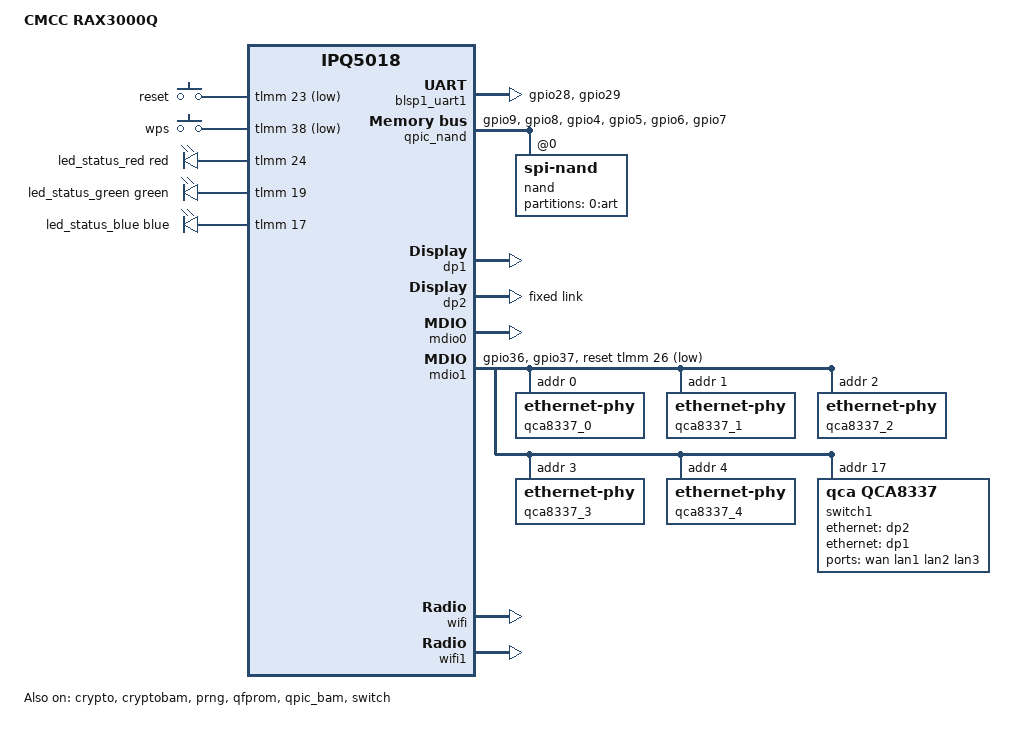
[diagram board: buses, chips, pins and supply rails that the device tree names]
// SPDX-License-Identifier: GPL-2.0-or-later OR MIT

/dts-v1/;

#include "ipq5018.dtsi"
#include "ipq5018-ess.dtsi"
#include "ipq5018-qcn6122.dtsi"

#include <dt-bindings/gpio/gpio.h>
#include <dt-bindings/input/input.h>
#include <dt-bindings/leds/common.h>

/ {
	model = "CMCC RAX3000Q";
	compatible = "cmcc,rax3000q", "qcom,ipq5018";

	aliases {
		serial0 = &blsp1_uart1;
		led-boot = &led_status_blue;
		led-failsafe = &led_status_red;
		led-running = &led_status_green;
		led-upgrade = &led_status_blue;
	};

	chosen {
		bootargs-append = " root=/dev/ubiblock0_1 coherent_pool=2M";
		stdout-path = "serial0:115200n8";
	};

	keys {
		compatible = "gpio-keys";
		pinctrl-0 = <&button_pins>;
		pinctrl-names = "default";

		reset-button {
			label = "reset";
			gpios = <&tlmm 23 GPIO_ACTIVE_LOW>;
			linux,code = <KEY_RESTART>;
		};

		wps-button {
			label = "wps";
			gpios = <&tlmm 38 GPIO_ACTIVE_LOW>;
			linux,code = <KEY_WPS_BUTTON>;
		};
	};

	leds {
		compatible = "gpio-leds";
		pinctrl-0 = <&led_pins>;
		pinctrl-names = "default";

		led_status_red: led-0 {
			gpios = <&tlmm 24 GPIO_ACTIVE_HIGH>;
			color = <LED_COLOR_ID_RED>;
			function = LED_FUNCTION_STATUS;
		};

		led_status_green: led-1 {
			gpios = <&tlmm 19 GPIO_ACTIVE_HIGH>;
			color = <LED_COLOR_ID_GREEN>;
			function = LED_FUNCTION_STATUS;
		};

		led_status_blue: led-2 {
			gpios = <&tlmm 17 GPIO_ACTIVE_HIGH>;
			color = <LED_COLOR_ID_BLUE>;
			function = LED_FUNCTION_WAN;
		};
	};
};

&sleep_clk {
	clock-frequency = <32000>;
};

&xo_board_clk {
	clock-div = <4>;
	clock-mult = <1>;
};

&blsp1_uart1 {
	status = "okay";

	pinctrl-0 = <&serial_0_pins>;
	pinctrl-names = "default";
};

&crypto {
	status = "okay";
};

&cryptobam {
	status = "okay";
};

&prng {
	status = "okay";
};

&qfprom {
	status = "okay";
};

&qpic_bam {
	status = "okay";
};

&qpic_nand {
	pinctrl-0 = <&qpic_pins>;
	pinctrl-names = "default";
	status = "okay";

	nand@0 {
		compatible = "spi-nand";
		reg = <0>;
		nand-ecc-engine = <&qpic_nand>;
		nand-bus-width = <8>;

		partitions {
			compatible = "qcom,smem-part";

			partition-art {
				label = "0:art";
				read-only;

				nvmem-layout {
					compatible = "fixed-layout";
					#address-cells = <1>;
					#size-cells = <1>;
					mac_addr_dp: macaddr@0 {
						compatible = "mac-base";
						reg = <0x0 0x6>;
						#nvmem-cell-cells = <1>;
					};
					mac_addr_wifi: macaddr@6 {
						compatible = "mac-base";
						reg = <0x6 0x6>;
						#nvmem-cell-cells = <1>;
					};
				};
			};
		};
	};
};

&switch {
	status = "okay";

	switch_mac_mode = <MAC_MODE_SGMII_CHANNEL0>;

	qcom,port_phyinfo {
		// MAC0 -> GE Phy --- MDI --- QCA8337 Phy2(Port3)
		port@0 {
			port_id = <1>;
			mdiobus = <&mdio0>;
			phy_address = <7>;
		};

		// MAC1 -> Uniphy --- SGMII --- QCA8337 SerDes(Port6)
		port@1 {
			port_id = <2>;
			mdiobus = <&mdio1>;
			forced-speed = <1000>;
			forced-duplex = <1>;
		};
	};
};

// MAC0 -> GE Phy
&dp1 {
	status = "okay";

	nvmem-cells = <&mac_addr_dp 0>;
	nvmem-cell-names = "mac-address";
};

// MAC1 -> SGMII
&dp2 {
	status = "okay";

	nvmem-cells = <&mac_addr_dp 1>;
	nvmem-cell-names = "mac-address";

	fixed-link {
		speed = <1000>;
		full-duplex;
	};
};

&mdio0 {
	status = "okay";
};

// MAC0 -> GE Phy -> QCA8337 Phy2
&ge_phy {
	qcom,dac-preset-short-cable;
};

&mdio1 {
	status = "okay";

	pinctrl-0 = <&mdio1_pins>;
	pinctrl-names = "default";
	reset-gpios = <&tlmm 26 GPIO_ACTIVE_LOW>;

	// QCA8337 Phy0 -> WAN
	qca8337_0: ethernet-phy@0 {
		reg = <0>;
	};

	// QCA8337 Phy1 -> LAN1
	qca8337_1: ethernet-phy@1 {
		reg = <1>;
	};

	// QCA8337 Phy2 -> IPQ5018 GE Phy
	qca8337_2: ethernet-phy@2 {
		reg = <2>;
	};

	// QCA8337 Phy3 -> LAN2
	qca8337_3: ethernet-phy@3 {
		reg = <3>;
	};

	// QCA8337 Phy4 -> LAN3
	qca8337_4: ethernet-phy@4 {
		reg = <4>;
	};

	// QCA8337 switch
	switch1: ethernet-switch@17 {
		compatible = "qca,qca8337";
		reg = <17>;
		#address-cells = <1>;
		#size-cells = <0>;

		ports {
			#address-cells = <1>;
			#size-cells = <0>;

			// CPU port -> MAC1 via SGMII
			port@0 {
				reg = <0>;
				phy-mode = "sgmii";
				ethernet = <&dp2>;
				qca,sgmii-enable-pll;

				fixed-link {
					speed = <1000>;
					full-duplex;
				};
			};

			// Phy0 -> WAN
			port@1 {
				reg = <1>;
				label = "wan";
				phy-handle = <&qca8337_0>;
			};

			// Phy1 -> LAN1
			port@2 {
				reg = <2>;
				label = "lan1";
				phy-handle = <&qca8337_1>;
			};

			// Phy2 -> IPQ5018 GE Phy (CPU port via internal GMII)
			port@3 {
				reg = <3>;
				phy-handle = <&qca8337_2>;
				phy-mode = "gmii";
				ethernet = <&dp1>;
			};

			// Phy3 -> LAN2
			port@4 {
				reg = <4>;
				label = "lan2";
				phy-handle = <&qca8337_3>;
			};

			// Phy4 -> LAN3
			port@5 {
				reg = <5>;
				label = "lan3";
				phy-handle = <&qca8337_4>;
			};
		};
	};
};

&tlmm {
	button_pins: button-state {
		button-pins {
			pins = "gpio23", "gpio38";
			function = "gpio";
			drive-strength = <8>;
			bias-pull-up;
		};
	};

	led_pins: led-state {
		pins = "gpio17", "gpio19", "gpio24";
		function = "gpio";
		drive-strength = <8>;
		bias-pull-down;
	};

	mdio1_pins: mdio-state {
		mdc-pins {
			pins = "gpio36";
			function = "mdc";
			drive-strength = <8>;
			bias-pull-up;
		};

		mdio-pins {
			pins = "gpio37";
			function = "mdio";
			drive-strength = <8>;
			bias-pull-up;
		};
	};

	qpic_pins: qpic-state {
		clock-pins {
			pins = "gpio9";
			function = "qspi_clk";
			drive-strength = <8>;
			bias-disable;
		};

		cs-pins {
			pins = "gpio8";
			function = "qspi_cs";
			drive-strength = <8>;
			bias-disable;
		};

		data-pins {
			pins = "gpio4", "gpio5", "gpio6", "gpio7";
			function = "qspi_data";
			drive-strength = <8>;
			bias-disable;
		};
	};

	serial_0_pins: uart0-state {
		pins = "gpio28", "gpio29";
		function = "blsp0_uart1";
		drive-strength = <8>;
		bias-disable;
	};

	switch_reset_pins: switch-reset-state {
		pins = "gpio26";
		function = "gpio";
		drive-strength = <8>;
		bias-pull-down;
	};
};

&q6v5_wcss {
	boot-args = </*       type:	*/ 0x2 /* PCIE1	*/
		     /*     length:	*/ 4
		     /*     UPD ID:	*/ 2
		     /* reset GPIO:	*/ 27
		     /*   reserved:	*/ 0 0>;
};

&wifi {
	// IPQ5018
	qcom,rproc = <&q6_wcss_pd1>;
	qcom,ath11k-calibration-variant = "CMCC-RAX3000Q";
	qcom,ath11k-fw-memory-mode = <1>;
	qcom,bdf-addr = <0x4c400000>;
	status = "okay";
	nvmem-cell-names = "mac-address";
	nvmem-cells = <&mac_addr_wifi 1>;
};

&wifi1 {
	// QCN6102 5G
	qcom,rproc = <&q6_wcss_pd2>;
	qcom,userpd-subsys-name = "q6v5_wcss_userpd2";
	qcom,ath11k-calibration-variant = "CMCC-RAX3000Q";
	qcom,ath11k-fw-memory-mode = <1>;
	qcom,bdf-addr = <0x4d100000>;
	qcom,m3-dump-addr = <0x4df00000>;
	status = "okay";
	nvmem-cell-names = "mac-address";
	nvmem-cells = <&mac_addr_wifi 0>;
};
